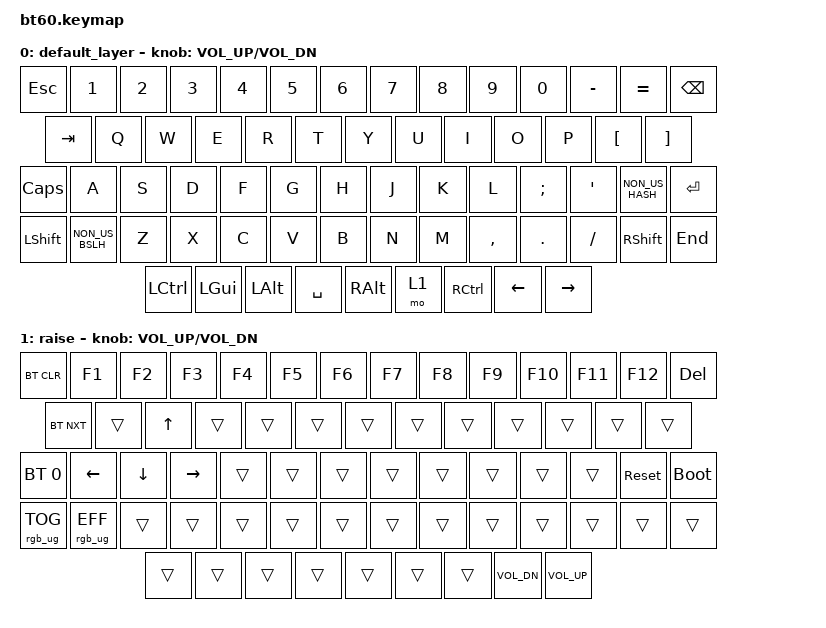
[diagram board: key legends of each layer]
#include <behaviors.dtsi>
#include <dt-bindings/zmk/keys.h>
#include <dt-bindings/zmk/bt.h>
#include <dt-bindings/zmk/rgb.h>
#include <dt-bindings/zmk/backlight.h>

/ {
	keymap {
		compatible = "zmk,keymap";

		default_layer {
				// ------------------------------------------------------------------------------------------
				// |  `  |  1  |  2  |  3  |  4  |  5  |  6  |  7  |  8  |  9  |  0  |  -  |  =  |   BKSP
				// | TAB  |  Q  |  W  |  E  |  R  |  T  |  Y  |  U  |  I  |  O  |  P  |  [  |  ]  |        |
				// | CAPS  |  A  |  S  |  D  |  F  |  G  |  H  |  J  |  K  |  L  |  ;  |  '  |  #  | ENTER |
				// |  SHIFT|  \ |  Z  |  X  |  C  |  V  |  B  |  N  |  M  |  ,  |  .  | /   | SHIFT  | END |
				// | LCTRL |  WIN  |  ALT  |            SPACE               | ALT | 1 |RCTRL| LEFT | RIGHT |
				// ------------------------------------------------------------------------------------------
			bindings = <

				&kp ESC &kp N1 &kp N2 &kp N3 &kp N4 &kp N5 &kp N6 &kp N7 &kp  N8   &kp  N9 &kp  N0  &kp MINUS &kp EQUAL &kp BSPC
				&kp TAB  &kp Q  &kp W  &kp E  &kp R  &kp T  &kp Y  &kp U  &kp  I    &kp  O  &kp  P   &kp LBKT &kp RBKT
				&kp CAPS  &kp A  &kp S  &kp D  &kp F  &kp G  &kp H  &kp J  &kp  K    &kp  L  &kp SEMI &kp SQT &kp NON_US_HASH  &kp RET
				&kp LSHFT &kp NON_US_BSLH &kp Z  &kp X  &kp C  &kp V  &kp B  &kp N  &kp M  &kp COMMA &kp DOT &kp FSLH &kp RSHFT &kp END
				&kp LEFT_CONTROL &kp LGUI &kp LALT            &kp SPACE                          &kp RALT  &mo 1 &kp RIGHT_CONTROL &kp LEFT &kp RIGHT
			>;
			sensor-bindings = <&inc_dec_kp C_VOL_UP C_VOL_DN>;
		};
		raise {
			bindings = <
				&bt BT_CLR &kp F1 &kp F2 &kp F3 &kp F4 &kp F5 &kp F6 &kp F7 &kp F8 &kp F9 &kp F10 &kp F11 &kp F12 &kp DEL
				&bt BT_NXT &trans &kp UP &trans &trans &trans &trans &trans &trans &trans &trans &trans &trans
				&bt BT_SEL 0  &kp LEFT &kp DOWN &kp RIGHT &trans &trans &trans &trans &trans &trans &trans  &trans &sys_reset  &bootloader
				&rgb_ug RGB_TOG &rgb_ug RGB_EFF &trans &trans &trans &trans &trans &trans &trans &trans &trans &trans  &trans &trans
				&trans &trans &trans             &trans                            &trans   &trans   &trans  &kp C_VOL_DN &kp C_VOL_UP
			>;
			sensor-bindings = <&inc_dec_kp C_VOL_UP C_VOL_DN>;
		};
	};
};
